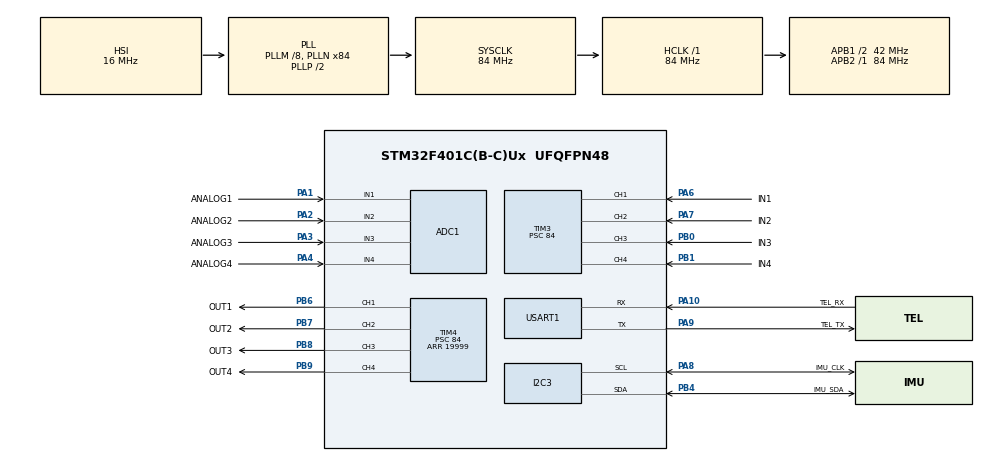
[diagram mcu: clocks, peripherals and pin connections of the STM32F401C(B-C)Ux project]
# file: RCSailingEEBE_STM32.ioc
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ADC1.Channel-0\#ChannelRegularConversion=ADC_CHANNEL_1
ADC1.Channel-1\#ChannelRegularConversion=ADC_CHANNEL_2
ADC1.Channel-2\#ChannelRegularConversion=ADC_CHANNEL_3
ADC1.Channel-3\#ChannelRegularConversion=ADC_CHANNEL_4
ADC1.DMAContinuousRequests=ENABLE
ADC1.EOCSelection=ADC_EOC_SEQ_CONV
ADC1.NbrOfConversion=4
ADC1.NbrOfConversionFlag=1
ADC1.Rank-0\#ChannelRegularConversion=1
ADC1.Rank-1\#ChannelRegularConversion=2
ADC1.Rank-2\#ChannelRegularConversion=3
ADC1.Rank-3\#ChannelRegularConversion=4
ADC1.SamplingTime-0\#ChannelRegularConversion=ADC_SAMPLETIME_3CYCLES
ADC1.SamplingTime-1\#ChannelRegularConversion=ADC_SAMPLETIME_3CYCLES
ADC1.SamplingTime-2\#ChannelRegularConversion=ADC_SAMPLETIME_3CYCLES
ADC1.SamplingTime-3\#ChannelRegularConversion=ADC_SAMPLETIME_3CYCLES
ADC1.ScanConvMode=ENABLE
ADC1.master=1
Dma.ADC1.0.Direction=DMA_PERIPH_TO_MEMORY
Dma.ADC1.0.FIFOMode=DMA_FIFOMODE_DISABLE
Dma.ADC1.0.Instance=DMA2_Stream0
Dma.ADC1.0.MemDataAlignment=DMA_MDATAALIGN_HALFWORD
Dma.ADC1.0.MemInc=DMA_MINC_ENABLE
Dma.ADC1.0.Mode=DMA_CIRCULAR
Dma.ADC1.0.PeriphDataAlignment=DMA_PDATAALIGN_HALFWORD
Dma.ADC1.0.PeriphInc=DMA_PINC_DISABLE
Dma.ADC1.0.Priority=DMA_PRIORITY_LOW
Dma.Request0=ADC1
FREERTOS.Queues01=radioQueue,4,uint32_t,0,Dynamic,NULL,NULL;adcQueue,4,float,0,Dynamic,NULL,NULL;imuQueue,12,float,0,Dynamic,NULL,NULL;telemetryQueue,32,float,0,Dynamic,NULL,NULL
FREERTOS.Tasks01=defaultTask,24,128,StartDefaultTask,Default,NULL,Dynamic,NULL,NULL;control_task,40,256,_control_task,Default,NULL,Dynamic,NULL,NULL;imu_read_task,24,256,_imu_read_task,Default,NULL,Dynamic,NULL,NULL;adc_read_task,8,128,_adc_read_task,Default,NULL,Dynamic,NULL,NULL;telemetry_task,8,256,_telemetry_task,Default,NULL,Dynamic,NULL,NULL
FREERTOS.configENABLE_FPU=1
FREERTOS.configGENERATE_RUN_TIME_STATS=1
FREERTOS.configQUEUE_REGISTRY_SIZE=16
FREERTOS.configRECORD_STACK_HIGH_ADDRESS=1
FREERTOS.configUSE_NEWLIB_REENTRANT=1
FREERTOS.configUSE_STATS_FORMATTING_FUNCTIONS=1
FREERTOS.configUSE_TICKLESS_IDLE=1
Mcu.Family=STM32F4
Mcu.Name=STM32F401C(B-C)Ux
Mcu.Package=UFQFPN48
NVIC.DMA2_Stream0_IRQn=true\:5\:0\:false\:false\:true\:true\:false\:true\:true
NVIC.PriorityGroup=NVIC_PRIORITYGROUP_4
NVIC.TIM1_TRG_COM_TIM11_IRQn=true\:5\:0\:false\:false\:true\:true\:true\:true\:true
NVIC.TIM1_UP_TIM10_IRQn=true\:15\:0\:false\:false\:true\:false\:false\:true\:true
NVIC.TIM3_IRQn=true\:5\:0\:false\:false\:true\:true\:true\:true\:true
NVIC.TimeBase=TIM1_UP_TIM10_IRQn
NVIC.TimeBaseIP=TIM10
PA1.GPIO_Label=ANALOG1
PA1.Signal=ADCx_IN1
PA10.GPIO_Label=TEL_RX
PA10.Mode=Asynchronous
PA10.Signal=USART1_RX
PA13.Mode=Trace_Asynchronous_SW
PA13.Signal=SYS_JTMS-SWDIO
PA14.Mode=Trace_Asynchronous_SW
PA14.Signal=SYS_JTCK-SWCLK
PA2.GPIO_Label=ANALOG2
PA2.Signal=ADCx_IN2
PA3.GPIO_Label=ANALOG3
PA3.Signal=ADCx_IN3
PA4.GPIO_Label=ANALOG4
PA4.Signal=ADCx_IN4
PA6.GPIO_Label=IN1
PA6.Signal=S_TIM3_CH1
PA7.GPIO_Label=IN2
PA7.Signal=S_TIM3_CH2
PA8.GPIO_Label=IMU_CLK
PA8.GPIO_Pu=GPIO_PULLUP
PA8.Mode=I2C
PA8.Signal=I2C3_SCL
PA9.GPIO_Label=TEL_TX
PA9.Mode=Asynchronous
PA9.Signal=USART1_TX
PB0.GPIO_Label=IN3
PB0.Signal=S_TIM3_CH3
PB1.GPIO_Label=IN4
PB1.Signal=S_TIM3_CH4
PB3.Mode=Trace_Asynchronous_SW
PB3.Signal=SYS_JTDO-SWO
PB4.GPIO_Label=IMU_SDA
PB4.GPIO_Pu=GPIO_PULLUP
PB4.Mode=I2C
PB4.Signal=I2C3_SDA
PB6.GPIO_Label=OUT1
PB6.GPIO_Speed=GPIO_SPEED_FREQ_VERY_HIGH
PB6.Signal=S_TIM4_CH1
PB7.GPIO_Label=OUT2
PB7.GPIO_Speed=GPIO_SPEED_FREQ_VERY_HIGH
PB7.Signal=S_TIM4_CH2
PB8.GPIO_Label=OUT3
PB8.GPIO_Speed=GPIO_SPEED_FREQ_VERY_HIGH
PB8.Signal=S_TIM4_CH3
PB9.GPIO_Label=OUT4
PB9.GPIO_Speed=GPIO_SPEED_FREQ_VERY_HIGH
PB9.Signal=S_TIM4_CH4
ProjectManager.HeapSize=0x200
ProjectManager.StackSize=0x400
ProjectManager.TargetToolchain=STM32CubeIDE
RCC.48MHZClocksFreq_Value=42000000
RCC.AHBFreq_Value=84000000
RCC.APB1CLKDivider=RCC_HCLK_DIV2
RCC.APB1Freq_Value=42000000
RCC.APB1TimFreq_Value=84000000
RCC.APB2Freq_Value=84000000
RCC.APB2TimFreq_Value=84000000
RCC.CortexFreq_Value=84000000
RCC.HCLKFreq_Value=84000000
RCC.HSE_VALUE=25000000
RCC.HSI_VALUE=16000000
RCC.LSE_VALUE=32768
RCC.PLLM=8
RCC.PLLN=84
RCC.SYSCLKFreq_VALUE=84000000
RCC.SYSCLKSource=RCC_SYSCLKSOURCE_PLLCLK
RCC.VCOOutputFreq_Value=168000000
SH.ADCx_IN1.0=ADC1_IN1,IN1
SH.ADCx_IN2.0=ADC1_IN2,IN2
SH.ADCx_IN3.0=ADC1_IN3,IN3
SH.ADCx_IN4.0=ADC1_IN4,IN4
SH.S_TIM3_CH1.0=TIM3_CH1,Input_Capture1_from_TI1
SH.S_TIM3_CH2.0=TIM3_CH2,Input_Capture2_from_TI2
SH.S_TIM3_CH3.0=TIM3_CH3,Input_Capture3_from_TI3
SH.S_TIM3_CH4.0=TIM3_CH4,Input_Capture4_from_TI4
SH.S_TIM4_CH1.0=TIM4_CH1,PWM Generation1 CH1
SH.S_TIM4_CH2.0=TIM4_CH2,PWM Generation2 CH2
SH.S_TIM4_CH3.0=TIM4_CH3,PWM Generation3 CH3
SH.S_TIM4_CH4.0=TIM4_CH4,PWM Generation4 CH4
TIM11.AutoReloadPreload=TIM_AUTORELOAD_PRELOAD_ENABLE
TIM11.Period=99
TIM11.Prescaler=84
TIM3.AutoReloadPreload=TIM_AUTORELOAD_PRELOAD_ENABLE
TIM3.Channel-Input_Capture1_from_TI1=TIM_CHANNEL_1
TIM3.Channel-Input_Capture2_from_TI2=TIM_CHANNEL_2
TIM3.Channel-Input_Capture3_from_TI3=TIM_CHANNEL_3
TIM3.Channel-Input_Capture4_from_TI4=TIM_CHANNEL_4
TIM3.ICPolarity_CH1=TIM_INPUTCHANNELPOLARITY_BOTHEDGE
TIM3.ICPolarity_CH2=TIM_INPUTCHANNELPOLARITY_BOTHEDGE
TIM3.ICPolarity_CH3=TIM_INPUTCHANNELPOLARITY_BOTHEDGE
TIM3.ICPolarity_CH4=TIM_INPUTCHANNELPOLARITY_BOTHEDGE
TIM3.Prescaler=84
TIM4.AutoReloadPreload=TIM_AUTORELOAD_PRELOAD_ENABLE
TIM4.Channel-PWM\ Generation1\ CH1=TIM_CHANNEL_1
TIM4.Channel-PWM\ Generation2\ CH2=TIM_CHANNEL_2
TIM4.Channel-PWM\ Generation3\ CH3=TIM_CHANNEL_3
TIM4.Channel-PWM\ Generation4\ CH4=TIM_CHANNEL_4
TIM4.Period=19999
TIM4.Prescaler=84
USART1.VirtualMode=VM_ASYNC
VP_FREERTOS_VS_CMSIS_V2.Mode=CMSIS_V2
VP_SYS_VS_tim10.Mode=TIM10
VP_TIM11_VS_ClockSourceINT.Mode=Enable_Timer
VP_TIM3_VS_ClockSourceINT.Mode=Internal
board=custom

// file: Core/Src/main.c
/* USER CODE BEGIN Header */
/**
  ******************************************************************************
  * @file           : main.c
  * @brief          : Main program body
  ******************************************************************************
  * @attention
  *
  * Copyright (c) 2025 STMicroelectronics.
  * All rights reserved.
  *
  * This software is licensed under terms that can be found in the LICENSE file
  * in the root directory of this software component.
  * If no LICENSE file comes with this software, it is provided AS-IS.
  *
  ******************************************************************************
  */
/* USER CODE END Header */
#include "main.h"
#include "cmsis_os.h"
#include "adc.h"
#include "dma.h"
#include "i2c.h"
#include "tim.h"
#include "usart.h"
#include "gpio.h"

void SystemClock_Config(void);
void MX_FREERTOS_Init(void);

int main(void)
{

  /* MCU Configuration--------------------------------------------------------*/

  /* Reset of all peripherals, Initializes the Flash interface and the Systick. */
   HAL_Init();

  /* Configure the system clock */
  SystemClock_Config();

  /* Initialize all configured peripherals */
  MX_GPIO_Init();
  MX_DMA_Init();
  MX_ADC1_Init();
  MX_TIM3_Init();
  MX_TIM4_Init();
  MX_USART1_UART_Init();
  MX_I2C3_Init();
  MX_TIM11_Init();

  /* Init scheduler */
  osKernelInitialize();

  /* Call init function for freertos objects (in cmsis_os2.c) */
  MX_FREERTOS_Init();

  /* Start scheduler */
  osKernelStart();

  /* We should never get here as control is now taken by the scheduler */

  /* Infinite loop */
  while (1)
  {

  }
}

void SystemClock_Config(void)
{
  RCC_OscInitTypeDef RCC_OscInitStruct = {0};
  RCC_ClkInitTypeDef RCC_ClkInitStruct = {0};

  /** Configure the main internal regulator output voltage
  */
  __HAL_RCC_PWR_CLK_ENABLE();
  __HAL_PWR_VOLTAGESCALING_CONFIG(PWR_REGULATOR_VOLTAGE_SCALE2);

  /** Initializes the RCC Oscillators according to the specified parameters
  * in the RCC_OscInitTypeDef structure.
  */
  RCC_OscInitStruct.OscillatorType = RCC_OSCILLATORTYPE_HSI;
  RCC_OscInitStruct.HSIState = RCC_HSI_ON;
  RCC_OscInitStruct.HSICalibrationValue = RCC_HSICALIBRATION_DEFAULT;
  RCC_OscInitStruct.PLL.PLLState = RCC_PLL_ON;
  RCC_OscInitStruct.PLL.PLLSource = RCC_PLLSOURCE_HSI;
  RCC_OscInitStruct.PLL.PLLM = 8;
  RCC_OscInitStruct.PLL.PLLN = 84;
  RCC_OscInitStruct.PLL.PLLP = RCC_PLLP_DIV2;
  RCC_OscInitStruct.PLL.PLLQ = 4;
  if (HAL_RCC_OscConfig(&RCC_OscInitStruct) != HAL_OK)
  {
    Error_Handler();
  }

  /** Initializes the CPU, AHB and APB buses clocks
  */
  RCC_ClkInitStruct.ClockType = RCC_CLOCKTYPE_HCLK|RCC_CLOCKTYPE_SYSCLK
                              |RCC_CLOCKTYPE_PCLK1|RCC_CLOCKTYPE_PCLK2;
  RCC_ClkInitStruct.SYSCLKSource = RCC_SYSCLKSOURCE_PLLCLK;
  RCC_ClkInitStruct.AHBCLKDivider = RCC_SYSCLK_DIV1;
  RCC_ClkInitStruct.APB1CLKDivider = RCC_HCLK_DIV2;
  RCC_ClkInitStruct.APB2CLKDivider = RCC_HCLK_DIV1;

  if (HAL_RCC_ClockConfig(&RCC_ClkInitStruct, FLASH_LATENCY_2) != HAL_OK)
  {
    Error_Handler();
  }
}

void HAL_TIM_PeriodElapsedCallback(TIM_HandleTypeDef *htim)
{
  if (htim->Instance == TIM10) {
    HAL_IncTick();
  }
}

void Error_Handler(void)
{
  __disable_irq();
  while (1)
  {
  }
}

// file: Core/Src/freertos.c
/* USER CODE BEGIN Header */
/**
  ******************************************************************************
  * File Name          : freertos.c
  * Description        : Code for freertos applications
  ******************************************************************************
  * @attention
  *
  * Copyright (c) 2025 STMicroelectronics.
  * All rights reserved.
  *
  * This software is licensed under terms that can be found in the LICENSE file
  * in the root directory of this software component.
  * If no LICENSE file comes with this software, it is provided AS-IS.
  *
  ******************************************************************************
  */
/* USER CODE END Header */

#include "FreeRTOS.h"
#include "task.h"
#include "main.h"
#include "cmsis_os.h"

/* USER CODE BEGIN Includes */
#include "CONTROL.h"
#include "ANALOG.h"
#include "IMU.h"
#include "TELEMETRY.h"

#include "tim.h"
#include "stm32f4xx_it.h"
#include "queue.h"
#include "adc.h"
#include "i2c.h"

/* USER CODE END Includes */

/* USER CODE BEGIN PD */
#define CONTROL_DELAY 10
#define TELEMETRY_DELAY 50
#define IMU_DELAY 10
#define ADC_DELAY 10

#define INCLUDE_vTaskList               1

#ifdef __cplusplus
extern "C" {
#endif
__attribute__((used))
const int uxTopUsedPriority = configMAX_PRIORITIES - 1;
#ifdef __cplusplus
}
#endif

/* USER CODE END PD */

/* USER CODE BEGIN Variables */
uint32_t idle_dummy, control_dummy, telemetry_dummy, imu_dummy, adc_dummy;
/* USER CODE END Variables */
/* Definitions for defaultTask */
osThreadId_t defaultTaskHandle;
const osThreadAttr_t defaultTask_attributes = {
  .name = "defaultTask",
  .stack_size = 128 * 4,
  .priority = (osPriority_t) osPriorityNormal,
};
/* Definitions for control_task */
osThreadId_t control_taskHandle;
const osThreadAttr_t control_task_attributes = {
  .name = "control_task",
  .stack_size = 256 * 4,
  .priority = (osPriority_t) osPriorityHigh,
};
/* Definitions for imu_read_task */
osThreadId_t imu_read_taskHandle;
const osThreadAttr_t imu_read_task_attributes = {
  .name = "imu_read_task",
  .stack_size = 256 * 4,
  .priority = (osPriority_t) osPriorityNormal,
};
/* Definitions for adc_read_task */
osThreadId_t adc_read_taskHandle;
const osThreadAttr_t adc_read_task_attributes = {
  .name = "adc_read_task",
  .stack_size = 128 * 4,
  .priority = (osPriority_t) osPriorityLow,
};
/* Definitions for telemetry_task */
osThreadId_t telemetry_taskHandle;
const osThreadAttr_t telemetry_task_attributes = {
  .name = "telemetry_task",
  .stack_size = 256 * 4,
  .priority = (osPriority_t) osPriorityLow,
};
/* Definitions for radioQueue */
osMessageQueueId_t radioQueueHandle;
const osMessageQueueAttr_t radioQueue_attributes = {
  .name = "radioQueue"
};
/* Definitions for adcQueue */
osMessageQueueId_t adcQueueHandle;
const osMessageQueueAttr_t adcQueue_attributes = {
  .name = "adcQueue"
};
/* Definitions for imuQueue */
osMessageQueueId_t imuQueueHandle;
const osMessageQueueAttr_t imuQueue_attributes = {
  .name = "imuQueue"
};
/* Definitions for telemetryQueue */
osMessageQueueId_t controlQueueHandle;
const osMessageQueueAttr_t controlQueue_attributes = {
  .name = "controlQueue"
};

void StartDefaultTask(void *argument);
void _control_task(void *argument);
void _imu_read_task(void *argument);
void _adc_read_task(void *argument);
void _telemetry_task(void *argument);

void MX_FREERTOS_Init(void); /* (MISRA C 2004 rule 8.1) */

/* Hook prototypes */
void configureTimerForRunTimeStats(void);
unsigned long getRunTimeCounterValue(void);

/* USER CODE BEGIN 1 */
/* Functions needed when configGENERATE_RUN_TIME_STATS is on */
__weak void configureTimerForRunTimeStats(void)
{
	HAL_TIM_Base_Start_IT(&htim11);
}

extern volatile unsigned long ulHighFrequencyTimerTicks;
__weak unsigned long getRunTimeCounterValue(void)
{
	return ulHighFrequencyTimerTicks;
}
/* USER CODE END 1 */

/* USER CODE BEGIN PREPOSTSLEEP */
__weak void PreSleepProcessing(uint32_t ulExpectedIdleTime)
{
/* place for user code */
}

__weak void PostSleepProcessing(uint32_t ulExpectedIdleTime)
{
/* place for user code */
}
/* USER CODE END PREPOSTSLEEP */

void MX_FREERTOS_Init(void) {
  /* USER CODE BEGIN Init */

	// Start all 4 input captures
	HAL_TIM_IC_Start_IT(&htim3, TIM_CHANNEL_1);
	HAL_TIM_IC_Start_IT(&htim3, TIM_CHANNEL_2);
	HAL_TIM_IC_Start_IT(&htim3, TIM_CHANNEL_3);
	HAL_TIM_IC_Start_IT(&htim3, TIM_CHANNEL_4);

	HAL_TIM_PWM_Start(&htim4, TIM_CHANNEL_1);
	HAL_TIM_PWM_Start(&htim4, TIM_CHANNEL_2);
	HAL_TIM_PWM_Start(&htim4, TIM_CHANNEL_3);
	HAL_TIM_PWM_Start(&htim4, TIM_CHANNEL_4);
  /* USER CODE END Init */

  /* Create the queue(s) */
  /* creation of radioQueue */
  radioQueueHandle = osMessageQueueNew (1, sizeof(RadioData_t), &radioQueue_attributes);

  /* creation of adcQueue */
  adcQueueHandle = osMessageQueueNew (1, sizeof(AdcData_t), &adcQueue_attributes);

  /* creation of imuQueue */
  imuQueueHandle = osMessageQueueNew (1, sizeof(ImuData_t), &imuQueue_attributes);

  /* creation of telemetryQueue */
  controlQueueHandle = osMessageQueueNew (1, sizeof(ControlData_t), &controlQueue_attributes);

  /* USER CODE BEGIN RTOS_QUEUES */
  /* add queues, ... */

  // Allowing the kernel-aware debugger to get to know our queues
  vQueueAddToRegistry( radioQueueHandle, "radioQueue" );
  vQueueAddToRegistry( adcQueueHandle, "adcQueue" );
  vQueueAddToRegistry( imuQueueHandle, "imuQueue" );
  vQueueAddToRegistry( controlQueueHandle, "controlQueue" );
  /* USER CODE END RTOS_QUEUES */

  /* Create the thread(s) */
  /* creation of defaultTask */
  defaultTaskHandle = osThreadNew(StartDefaultTask, NULL, &defaultTask_attributes);

  /* creation of control_task */
  control_taskHandle = osThreadNew(_control_task, NULL, &control_task_attributes);

  /* creation of imu_read_task */
  imu_read_taskHandle = osThreadNew(_imu_read_task, NULL, &imu_read_task_attributes);

  /* creation of adc_read_task */
  adc_read_taskHandle = osThreadNew(_adc_read_task, NULL, &adc_read_task_attributes);

  /* creation of telemetry_task */
  telemetry_taskHandle = osThreadNew(_telemetry_task, NULL, &telemetry_task_attributes);

}

void StartDefaultTask(void *argument)
{
  /* USER CODE BEGIN StartDefaultTask */
  /* Infinite loop */
  for(;;)
  {
	idle_dummy++; // Keep incrementing the dummy variable
    osDelay(1); // A small delay to avoid task starvation
  }
  /* USER CODE END StartDefaultTask */
}

void _control_task(void *argument)
{
  /* USER CODE BEGIN _control_task */
  for(;;)
  {
	control_dummy++;
    control(); // Execute control function
    osDelay(CONTROL_DELAY);
  }
  /* USER CODE END _control_task */
}

void _imu_read_task(void *argument)
{
  /* USER CODE BEGIN _imu_read_task */
  for(;;)
  {
	imu_dummy++;
    imu_read(); // Execute imu read function
    osDelay(IMU_DELAY);
  }
  /* USER CODE END _imu_read_task */
}

void _adc_read_task(void *argument)
{
  /* USER CODE BEGIN _adc_read_task */
  for(;;)
  {
	adc_dummy++;
    adc_read(); // Execute ADC read function
    osDelay(ADC_DELAY);
  }
  /* USER CODE END _adc_read_task */
}

void _telemetry_task(void *argument)
{
  /* USER CODE BEGIN _telemetry_task */
  for(;;)
  {
	telemetry_dummy++;
    telemetry(); // Execute telemetry function
    osDelay(TELEMETRY_DELAY);
  }
  /* USER CODE END _telemetry_task */
}
